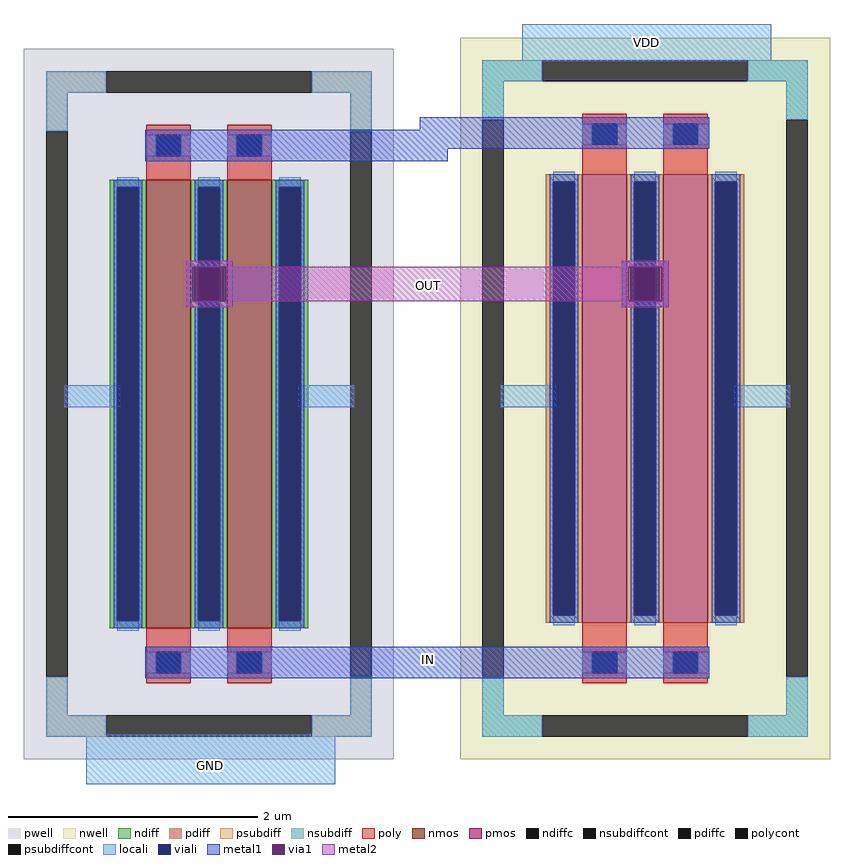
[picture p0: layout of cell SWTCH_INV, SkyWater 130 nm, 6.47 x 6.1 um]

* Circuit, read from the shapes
.subckt SWTCH_INV VDD GND IN OUT
XM1 OUT IN GND GND sky130_fd_pr__nfet_01v8 w=3.6 l=0.36 m=2
XM2 OUT IN VDD VDD sky130_fd_pr__pfet_01v8 w=3.6 l=0.36 m=2
.ends

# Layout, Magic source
magic
tech sky130A
magscale 1 2
<< locali >>
rect -200 1020 200 1080
rect -935 465 -845 500
rect -560 465 -470 500
rect -235 465 -145 500
rect 140 465 230 500
rect -900 -140 -500 -60
<< metal1 >>
rect -365 910 100 930
rect -805 880 100 910
rect -805 860 -320 880
rect -740 690 -665 700
rect -740 635 -730 690
rect -675 635 -665 690
rect -740 625 -665 635
rect -40 690 35 700
rect -40 635 -30 690
rect 25 635 35 690
rect -40 625 35 635
rect -805 30 100 80
<< via1 >>
rect -730 635 -675 690
rect -30 635 25 690
<< metal2 >>
rect -740 690 -665 700
rect -40 690 35 700
rect -740 635 -730 690
rect -675 635 -30 690
rect 25 635 35 690
rect -740 625 -665 635
rect -40 625 35 635
use sky130_fd_pr__nfet_01v8_MNCXCV  sky130_fd_pr__nfet_01v8_MNCXCV_0
transform 1 0 -703 0 1 470
box -297 -570 297 570
use sky130_fd_pr__pfet_01v8_CVBGJ4  sky130_fd_pr__pfet_01v8_CVBGJ4_0
transform 1 0 -3 0 1 479
box -297 -579 297 579
<< labels >>
rlabel locali -900 -140 -500 -80 1 GND
port 2 n
rlabel locali -200 1020 200 1080 1 VDD
port 1 n
rlabel metal2 -380 640 -320 680 1 OUT
port 4 n
rlabel metal1 -380 40 -320 80 1 IN
port 3 n
<< end >>

# cell sky130_fd_pr__nfet_01v8_MNCXCV: kit device sky130_fd_pr__nfet_01v8, w 3.6 l .36 m 1 nf 2 diffcov 100 polycov 100 guard 1 glc 1 grc 1 gtc 1 gbc 1 tbcov 100 rlcov 100 topc 1 botc 1 poverlap 0 doverlap 1 lmin 0.15 wmin 0.42 compatible {sky130_fd_pr__nfet_01v8 sky130_fd_pr__nfet_01v8_lvt sky130_fd_bs_flash__special_sonosfet_star sky130_fd_pr__nfet_g5v0d10v5 sky130_fd_pr__nfet_05v0_nvt sky130_fd_pr__nfet_03v3_nvt} full_metal 1 viasrc 100 viadrn 100 viagate 100 viagb 0 viagr 0 viagl 0 viagt 0

# cell sky130_fd_pr__pfet_01v8_CVBGJ4: kit device sky130_fd_pr__pfet_01v8, w 03.6 l .36 m 1 nf 2 diffcov 100 polycov 100 guard 1 glc 1 grc 1 gtc 1 gbc 1 tbcov 100 rlcov 100 topc 1 botc 1 poverlap 0 doverlap 1 lmin 0.15 wmin 0.42 compatible {sky130_fd_pr__pfet_01v8 sky130_fd_pr__pfet_01v8_lvt sky130_fd_pr__pfet_01v8_hvt sky130_fd_pr__pfet_g5v0d10v5} full_metal 1 viasrc 100 viadrn 100 viagate 100 viagb 0 viagr 0 viagl 0 viagt 0
